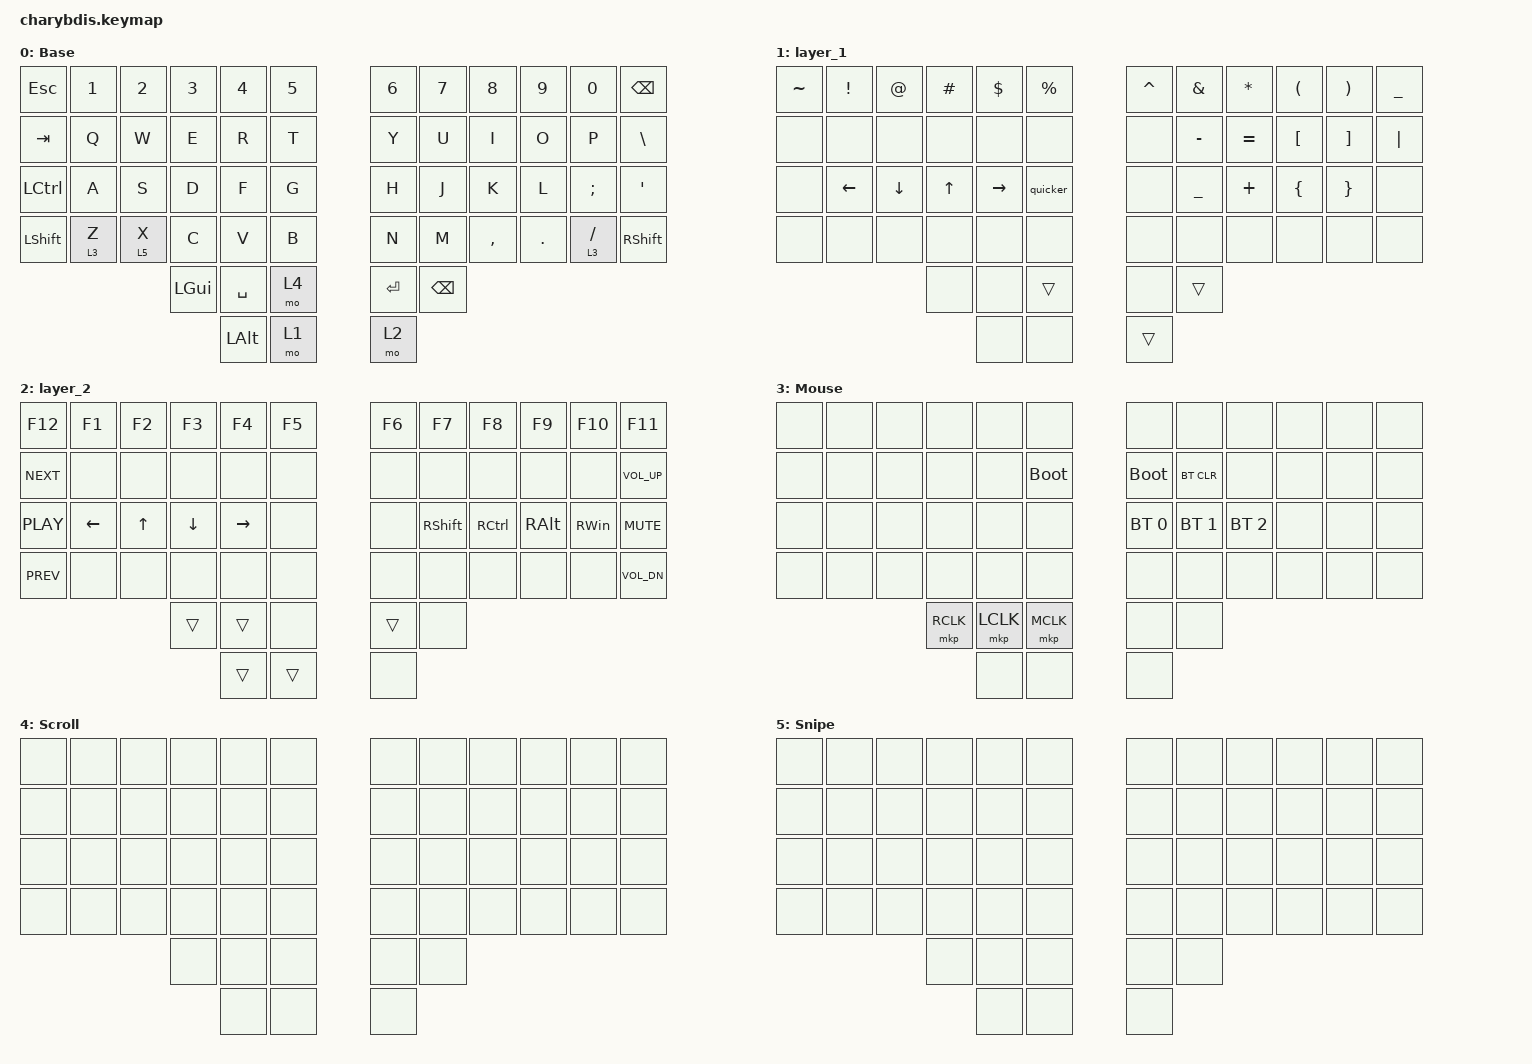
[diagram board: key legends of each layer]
#include <behaviors/mouse_keys.dtsi>
#include <behaviors.dtsi>
#include <dt-bindings/zmk/bt.h>
#include <dt-bindings/zmk/keys.h>
#include <dt-bindings/zmk/mouse.h>

&lt {
    tapping-term-ms = <240>;
    flavor = "tap-preferred";
    quick-tap-ms = <150>;
    require-prior-idle-ms = <10>;
};

&mt {
    tapping-term-ms = <250>;
    flavor = "tap-preferred";
    require-prior-idle-ms = <250>;
};

/ {
    combos {
        compatible = "zmk,combos";

        LeftClickRight {
            bindings = <&mkp LCLK>;
            key-positions = <31 32>;
        };

        RightClickRight {
            bindings = <&mkp RCLK>;
            key-positions = <32 33>;
        };

        scroll {
            bindings = <&mo 4>;
            key-positions = <31 32 33>;
        };
    };

    behaviors {
        Shift_Enter: Shift_Enter {
            compatible = "zmk,behavior-hold-tap";
            label = "SHIFT_ENTER";
            bindings = <&kp>, <&kp>;

            #binding-cells = <2>;
            hold-trigger-key-positions = <34>;
            tapping-term-ms = <100>;
        };
    };

    macros {
        quicker: quicker {
            compatible = "zmk,behavior-macro";
            #binding-cells = <0>;
            bindings = <&kp LEFT_CONTROL &kp LCTRL>, <&macro_press>;

            label = "QUICKER";
        };
    };

    keymap {
        compatible = "zmk,keymap";

        Base {
            bindings = <
&kp ESC         &kp N1   &kp N2   &kp N3    &kp N4        &kp N5    &kp N6     &kp N7         &kp N8     &kp N9      &kp N0       &kp BSPC
&kp TAB         &kp Q    &kp W    &kp E     &kp R         &kp T     &kp Y      &kp U          &kp I      &kp O       &kp P        &kp BSLH
&kp LCTRL       &kp A    &kp S    &kp D     &kp F         &kp G     &kp H      &kp J          &kp K      &kp L       &kp SEMI     &kp APOS
&kp LEFT_SHIFT  &lt 3 Z  &lt 5 X  &kp C     &kp V         &kp B     &kp N      &kp M          &kp COMMA  &kp PERIOD  &lt 3 SLASH  &kp RSHFT
                                  &kp LGUI  &kp SPACE     &mo 4     &kp ENTER  &kp BACKSPACE
                                            &kp LEFT_ALT  &mo 1     &mo 2
            >;
        };

        layer_1 {
            bindings = <
&kp TILDE  &kp EXCLAMATION  &kp AT_SIGN  &kp HASH      &kp DOLLAR  &kp PERCENT    &kp CARET  &kp AMPERSAND   &kp ASTERISK  &kp LEFT_PARENTHESIS  &kp RIGHT_PARENTHESIS  &kp UNDERSCORE
&none      &none            &none        &none         &none       &none          &none      &kp MINUS       &kp EQUAL     &kp LBKT              &kp RBKT               &kp PIPE
&none      &kp LEFT         &kp DOWN     &kp UP_ARROW  &kp RIGHT   &quicker       &none      &kp UNDERSCORE  &kp PLUS      &kp LEFT_BRACE        &kp RIGHT_BRACE        &none
&none      &none            &none        &none         &none       &none          &none      &none           &none         &none                 &none                  &none
                                         &none         &none       &trans         &none      &trans
                                                       &none       &none          &trans
            >;
        };

        layer_2 {
            bindings = <
&kp F12     &kp F1    &kp F2        &kp F3          &kp F4           &kp F5    &kp F6  &kp F7           &kp F8     &kp F9         &kp F10        &kp F11
&kp C_NEXT  &none     &none         &none           &none            &none     &none   &none            &none      &none          &none          &kp C_VOL_UP
&kp C_PLAY  &kp LEFT  &kp UP_ARROW  &kp DOWN_ARROW  &kp RIGHT_ARROW  &none     &none   &kp RIGHT_SHIFT  &kp RCTRL  &kp RIGHT_ALT  &kp RIGHT_WIN  &kp K_MUTE
&kp C_PREV  &none     &none         &none           &none            &none     &none   &none            &none      &none          &none          &kp C_VOL_DN
                                    &trans          &trans           &none     &trans  &none
                                                    &trans           &trans    &none
            >;
        };

        Mouse {
            bindings = <
&none  &none  &none  &none      &none      &none          &none         &none         &none         &none  &none  &none
&none  &none  &none  &none      &none      &bootloader    &bootloader   &bt BT_CLR    &none         &none  &none  &none
&none  &none  &none  &none      &none      &none          &bt BT_SEL 0  &bt BT_SEL 1  &bt BT_SEL 2  &none  &none  &none
&none  &none  &none  &none      &none      &none          &none         &none         &none         &none  &none  &none
                     &mkp RCLK  &mkp LCLK  &mkp MCLK      &none         &none
                                &none      &none          &none
            >;
        };

        Scroll {
            bindings = <
&none  &none  &none  &none  &none  &none    &none  &none  &none  &none  &none  &none
&none  &none  &none  &none  &none  &none    &none  &none  &none  &none  &none  &none
&none  &none  &none  &none  &none  &none    &none  &none  &none  &none  &none  &none
&none  &none  &none  &none  &none  &none    &none  &none  &none  &none  &none  &none
                     &none  &none  &none    &none  &none
                            &none  &none    &none
            >;
        };

        Snipe {
            bindings = <
&none  &none  &none  &none  &none  &none    &none  &none  &none  &none  &none  &none
&none  &none  &none  &none  &none  &none    &none  &none  &none  &none  &none  &none
&none  &none  &none  &none  &none  &none    &none  &none  &none  &none  &none  &none
&none  &none  &none  &none  &none  &none    &none  &none  &none  &none  &none  &none
                     &none  &none  &none    &none  &none
                            &none  &none    &none
            >;
        };

        extra1 {
            status = "reserved";
        };

        extra2 {
            status = "reserved";
        };

        extra3 {
            status = "reserved";
        };

        extra4 {
            status = "reserved";
        };
    };
};
